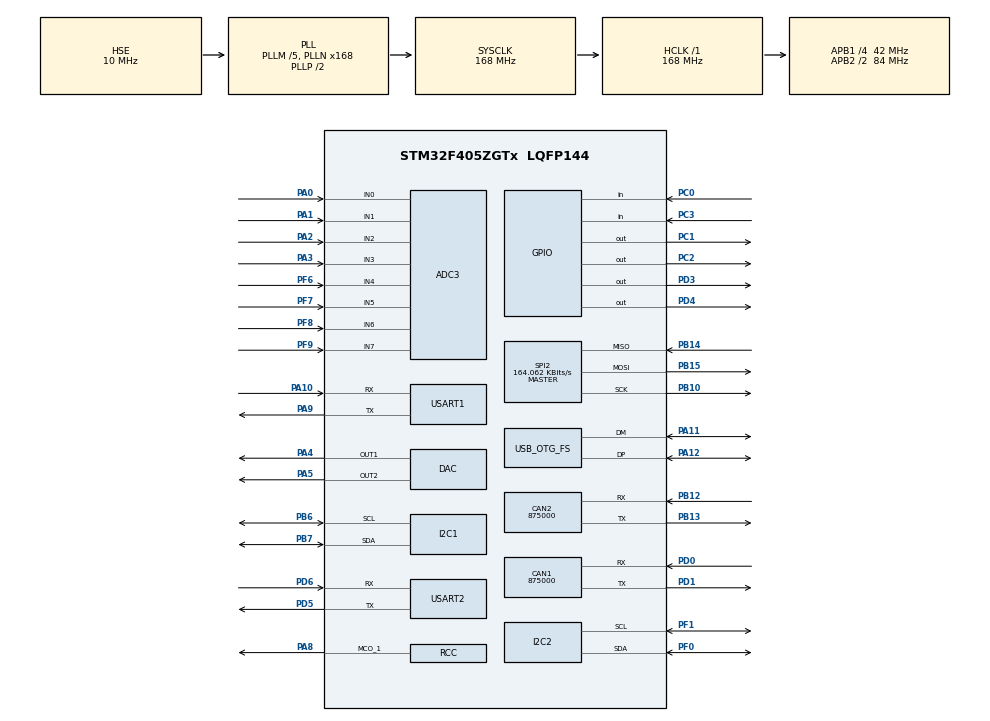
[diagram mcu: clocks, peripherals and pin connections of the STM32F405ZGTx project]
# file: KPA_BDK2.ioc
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ADC1.Channel-1\#ChannelRegularConversion=ADC_CHANNEL_TEMPSENSOR
ADC1.ContinuousConvMode=ENABLE
ADC1.InjNumberOfConversion=0
ADC1.NbrOfConversion=1
ADC1.NbrOfConversionFlag=1
ADC1.Rank-1\#ChannelRegularConversion=1
ADC1.SamplingTime-1\#ChannelRegularConversion=ADC_SAMPLETIME_144CYCLES
ADC1.master=1
ADC3.Channel-1\#ChannelRegularConversion=ADC_CHANNEL_0
ADC3.Channel-10\#ChannelRegularConversion=ADC_CHANNEL_5
ADC3.Channel-11\#ChannelRegularConversion=ADC_CHANNEL_6
ADC3.Channel-12\#ChannelRegularConversion=ADC_CHANNEL_7
ADC3.Channel-2\#ChannelRegularConversion=ADC_CHANNEL_1
ADC3.Channel-3\#ChannelRegularConversion=ADC_CHANNEL_2
ADC3.Channel-4\#ChannelRegularConversion=ADC_CHANNEL_3
ADC3.Channel-9\#ChannelRegularConversion=ADC_CHANNEL_4
ADC3.ClockPrescaler=ADC_CLOCK_SYNC_PCLK_DIV4
ADC3.ContinuousConvMode=ENABLE
ADC3.DMAContinuousRequests=ENABLE
ADC3.EOCSelection=ADC_EOC_SINGLE_CONV
ADC3.NbrOfConversion=8
ADC3.NbrOfConversionFlag=1
ADC3.Rank-1\#ChannelRegularConversion=1
ADC3.Rank-10\#ChannelRegularConversion=6
ADC3.Rank-11\#ChannelRegularConversion=7
ADC3.Rank-12\#ChannelRegularConversion=8
ADC3.Rank-2\#ChannelRegularConversion=2
ADC3.Rank-3\#ChannelRegularConversion=3
ADC3.Rank-4\#ChannelRegularConversion=4
ADC3.Rank-9\#ChannelRegularConversion=5
ADC3.SamplingTime-1\#ChannelRegularConversion=ADC_SAMPLETIME_56CYCLES
ADC3.SamplingTime-10\#ChannelRegularConversion=ADC_SAMPLETIME_56CYCLES
ADC3.SamplingTime-11\#ChannelRegularConversion=ADC_SAMPLETIME_56CYCLES
ADC3.SamplingTime-12\#ChannelRegularConversion=ADC_SAMPLETIME_56CYCLES
ADC3.SamplingTime-2\#ChannelRegularConversion=ADC_SAMPLETIME_56CYCLES
ADC3.SamplingTime-3\#ChannelRegularConversion=ADC_SAMPLETIME_56CYCLES
ADC3.SamplingTime-4\#ChannelRegularConversion=ADC_SAMPLETIME_56CYCLES
ADC3.SamplingTime-9\#ChannelRegularConversion=ADC_SAMPLETIME_56CYCLES
ADC3.ScanConvMode=ENABLE
CAN1.BS1=CAN_BS1_1TQ
CAN1.BS2=CAN_BS2_1TQ
CAN1.CalculateBaudRate=875000
CAN1.CalculateTimeBit=1142
CAN1.CalculateTimeQuantum=380.95238095238096
CAN2.CalculateBaudRate=875000
CAN2.CalculateTimeBit=1142
CAN2.CalculateTimeQuantum=380.95238095238096
DAC.DAC_Trigger=DAC_TRIGGER_NONE
DAC.DAC_Trigger2=DAC_TRIGGER_NONE
Dma.ADC3.0.Direction=DMA_PERIPH_TO_MEMORY
Dma.ADC3.0.FIFOMode=DMA_FIFOMODE_ENABLE
Dma.ADC3.0.FIFOThreshold=DMA_FIFO_THRESHOLD_HALFFULL
Dma.ADC3.0.Instance=DMA2_Stream0
Dma.ADC3.0.MemBurst=DMA_MBURST_SINGLE
Dma.ADC3.0.MemDataAlignment=DMA_MDATAALIGN_HALFWORD
Dma.ADC3.0.MemInc=DMA_MINC_ENABLE
Dma.ADC3.0.Mode=DMA_CIRCULAR
Dma.ADC3.0.PeriphBurst=DMA_PBURST_SINGLE
Dma.ADC3.0.PeriphDataAlignment=DMA_PDATAALIGN_HALFWORD
Dma.ADC3.0.PeriphInc=DMA_PINC_DISABLE
Dma.ADC3.0.Priority=DMA_PRIORITY_MEDIUM
Dma.Request0=ADC3
I2C1.I2C_Mode=I2C_Fast
I2C2.I2C_Mode=I2C_Fast
Mcu.Family=STM32F4
Mcu.Name=STM32F405ZGTx
Mcu.Package=LQFP144
NVIC.DMA2_Stream0_IRQn=true\:0\:0\:false\:false\:true\:false\:true
NVIC.I2C1_ER_IRQn=true\:0\:0\:false\:false\:true\:true\:true
NVIC.I2C1_EV_IRQn=true\:0\:0\:false\:false\:true\:true\:true
NVIC.I2C2_EV_IRQn=true\:0\:0\:false\:false\:true\:true\:true
NVIC.OTG_FS_IRQn=true\:0\:0\:false\:false\:true\:false\:true
NVIC.PriorityGroup=NVIC_PRIORITYGROUP_4
NVIC.SPI2_IRQn=true\:0\:0\:false\:false\:true\:true\:true
NVIC.TIM1_BRK_TIM9_IRQn=true\:0\:0\:false\:false\:true\:true\:true
NVIC.TIM2_IRQn=true\:0\:0\:false\:false\:true\:true\:true
NVIC.TIM7_IRQn=true\:0\:0\:false\:false\:true\:true\:true
NVIC.TIM8_BRK_TIM12_IRQn=true\:0\:0\:false\:false\:true\:true\:true
NVIC.USART1_IRQn=true\:0\:0\:true\:false\:true\:true\:true
NVIC.USART2_IRQn=true\:0\:0\:false\:false\:true\:true\:true
PA0-WKUP.Signal=ADCx_IN0
PA1.Signal=ADCx_IN1
PA10.Mode=Asynchronous
PA10.Signal=USART1_RX
PA11.Mode=Device_Only
PA11.Signal=USB_OTG_FS_DM
PA12.Mode=Device_Only
PA12.Signal=USB_OTG_FS_DP
PA13.Mode=Trace_Asynchronous_SW
PA13.Signal=SYS_JTMS-SWDIO
PA14.Mode=Trace_Asynchronous_SW
PA14.Signal=SYS_JTCK-SWCLK
PA15.Signal=SYS_JTDI
PA2.Signal=ADCx_IN2
PA3.Signal=ADCx_IN3
PA4.Signal=COMP_DAC1_group
PA5.Signal=COMP_DAC2_group
PA8.GPIO_Speed=GPIO_SPEED_FREQ_HIGH
PA8.Mode=Clock-out-1
PA8.Signal=RCC_MCO_1
PA9.Mode=Asynchronous
PA9.Signal=USART1_TX
PB10.Mode=Full_Duplex_Master
PB10.Signal=SPI2_SCK
PB12.Mode=CAN_Activate
PB12.Signal=CAN2_RX
PB13.Mode=CAN_Activate
PB13.Signal=CAN2_TX
PB14.Mode=Full_Duplex_Master
PB14.Signal=SPI2_MISO
PB15.Mode=Full_Duplex_Master
PB15.Signal=SPI2_MOSI
PB3.Mode=Trace_Asynchronous_SW
PB3.Signal=SYS_JTDO-SWO
PB6.Mode=I2C
PB6.Signal=I2C1_SCL
PB7.Mode=I2C
PB7.Signal=I2C1_SDA
PC0.Signal=GPIO_Input
PC1.Signal=GPIO_Output
PC2.Signal=GPIO_Output
PC3.Signal=GPIO_Input
PC6.Signal=S_TIM3_CH1
PC7.Signal=S_TIM3_CH2
PD0.Mode=CAN_Activate
PD0.Signal=CAN1_RX
PD1.Mode=CAN_Activate
PD1.Signal=CAN1_TX
PD3.Signal=GPIO_Output
PD4.Signal=GPIO_Output
PD5.Mode=Asynchronous
PD5.Signal=USART2_TX
PD6.Mode=Asynchronous
PD6.Signal=USART2_RX
PF0.Mode=I2C
PF0.Signal=I2C2_SDA
PF1.Mode=I2C
PF1.Signal=I2C2_SCL
PF6.Mode=IN4
PF6.Signal=ADC3_IN4
PF7.Mode=IN5
PF7.Signal=ADC3_IN5
PF8.Mode=IN6
PF8.Signal=ADC3_IN6
PF9.Mode=IN7
PF9.Signal=ADC3_IN7
PH0-OSC_IN.Mode=HSE-External-Oscillator
PH0-OSC_IN.Signal=RCC_OSC_IN
PH1-OSC_OUT.Mode=HSE-External-Oscillator
PH1-OSC_OUT.Signal=RCC_OSC_OUT
ProjectManager.HeapSize=0x400
ProjectManager.StackSize=0x600
ProjectManager.TargetToolchain=MDK-ARM V5
RCC.48MHZClocksFreq_Value=48000000
RCC.AHBFreq_Value=168000000
RCC.APB1CLKDivider=RCC_HCLK_DIV4
RCC.APB1Freq_Value=42000000
RCC.APB1TimFreq_Value=84000000
RCC.APB2CLKDivider=RCC_HCLK_DIV2
RCC.APB2Freq_Value=84000000
RCC.APB2TimFreq_Value=168000000
RCC.CortexFreq_Value=168000000
RCC.HCLKFreq_Value=168000000
RCC.HSE_VALUE=10000000
RCC.HSI_VALUE=16000000
RCC.LSE_VALUE=32768
RCC.PLLM=5
RCC.PLLN=168
RCC.PLLQ=7
RCC.RCC_MCO1Source=RCC_MCO1SOURCE_HSE
RCC.SYSCLKFreq_VALUE=168000000
RCC.SYSCLKSource=RCC_SYSCLKSOURCE_PLLCLK
RCC.VCOOutputFreq_Value=336000000
SH.ADCx_IN0.0=ADC3_IN0,IN0
SH.ADCx_IN1.0=ADC3_IN1,IN1
SH.ADCx_IN2.0=ADC3_IN2,IN2
SH.ADCx_IN3.0=ADC3_IN3,IN3
SH.COMP_DAC1_group.0=DAC_OUT1,DAC_OUT1
SH.COMP_DAC2_group.0=DAC_OUT2,DAC_OUT2
SH.S_TIM3_CH1.0=TIM3_CH1
SH.S_TIM3_CH2.0=TIM3_CH2
SPI2.BaudRatePrescaler=SPI_BAUDRATEPRESCALER_256
SPI2.CalculateBaudRate=164.062 KBits/s
SPI2.Direction=SPI_DIRECTION_2LINES
SPI2.Mode=SPI_MODE_MASTER
SPI2.VirtualType=VM_MASTER
TIM1.Period=100
TIM1.Prescaler=83
TIM12.Period=100
TIM12.Prescaler=83
TIM2.Prescaler=83
TIM4.Period=39999
TIM4.Prescaler=20
TIM5.CounterMode=TIM_COUNTERMODE_UP
TIM5.Period=6000
TIM5.Prescaler=8299
TIM7.AutoReloadPreload=TIM_AUTORELOAD_PRELOAD_ENABLE
TIM7.Period=50
TIM7.Prescaler=8399
TIM8.CounterMode=TIM_COUNTERMODE_DOWN
TIM8.Period=1000
TIM8.Prescaler=83
TIM9.Period=1000
TIM9.Prescaler=5
USART1.VirtualMode=VM_ASYNC
USART2.VirtualMode=VM_ASYNC
USB_DEVICE.APP_RX_DATA_SIZE-CDC_FS=256
USB_DEVICE.APP_TX_DATA_SIZE-CDC_FS=256
USB_DEVICE.CLASS_NAME_FS=CDC
USB_DEVICE.USBD_MAX_STR_DESC_SIZ-CDC_FS=64
USB_DEVICE.VirtualMode-CDC_FS=Cdc
USB_DEVICE.VirtualModeFS=Cdc_FS
USB_OTG_FS.VirtualMode=Device_Only
VP_ADC1_TempSens_Input.Mode=IN-TempSens
VP_TIM12_VS_ClockSourceINT.Mode=Internal
VP_TIM1_VS_ClockSourceINT.Mode=Internal
VP_TIM2_VS_ClockSourceINT.Mode=Internal
VP_TIM4_VS_ClockSourceINT.Mode=Internal
VP_TIM5_VS_ClockSourceINT.Mode=Internal
VP_TIM7_VS_ClockSourceINT.Mode=Enable_Timer
VP_TIM8_VS_ClockSourceINT.Mode=Internal
VP_TIM9_VS_ClockSourceINT.Mode=Internal
VP_USB_DEVICE_VS_USB_DEVICE_CDC_FS.Mode=CDC_FS
board=custom

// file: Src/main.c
/* USER CODE BEGIN Header */
/**
  ******************************************************************************
  * @file           : main.c
  * @brief          : Main program body
  ******************************************************************************
  * @attention
  *
  * <h2><center>&copy; Copyright (c) 2020 STMicroelectronics.
  * All rights reserved.</center></h2>
  *
  * This software component is licensed by ST under BSD 3-Clause license,
  * the "License"; You may not use this file except in compliance with the
  * License. You may obtain a copy of the License at:
  *                        opensource.org/licenses/BSD-3-Clause
  *
  ******************************************************************************
  */
/* USER CODE END Header */
#include "main.h"
#include "adc.h"
#include "can.h"
#include "dac.h"
#include "dma.h"
#include "i2c.h"
#include "spi.h"
#include "tim.h"
#include "usart.h"
#include "usb_device.h"
#include "gpio.h"

/* USER CODE BEGIN Includes */
#include <stm32f4xx.h>

/* USER CODE END Includes */

/* USER CODE BEGIN PV */
//type_VCP_UART vcp;

#define ADC_DATA_LAST_ADDRESS 0
#define DAC_DATA_LAST_ADDRESS 1
extern TIM_HandleTypeDef htim3;

#include "vcp_time_segmentation.h"
#include "modbus_rtu.h"
#include "math.h"
#include "modbus_data_formater.h"
#include "INA226.h"
#include "my_GPIO.h"
#include "my_UART.h"
#include "my_SPI.h"
#include "led.h"
#include "Power_module.h"
#include "my_MKO.h"
#include "MPP_Module.h"

type_VCP_UART vcp;

#pragma pack(push, 2)
type_modbus_data MB_Data;

type_adc_data_struct mb_adc;
type_adc_settings 	 mb_adc_settings;
type_dac_data_struct mb_dac1;
type_dac_data_struct mb_dac2;
type_INA226_Snake ina_226;
type_INA226_Snake	power_module_ina;
type_power_module mb_power_module;
type_MKO_Data mb_MKO_Data;
type_MKO_Cntrl mb_MKO_cntrl;
type_MPP_Parametres mb_MPP_Module_ch1;
type_MPP_Parametres mb_MPP_Module_ch2;
uint16_t test_dac[] = {0, 500, 1000, 2000, 3000, 4000};
uint8_t test_dac_i;
uint8_t uart1_transmit_len;
uint8_t uart2_transmit_len;

type_spi_chipselect_settings	mb_spi_cs_settings;

type_mb_data_union mb_data_union;

type_uart_transmit_struct mb_uart1_transmit;
type_uart_setting_union   mb_uart1_setting;
type_uart_transmit_struct mb_uart2_transmit;
type_uart_setting_union   mb_uart2_setting;
type_uart_setting_union 	UART_settings_default;
type_spi_settings_struct					mb_spi_settings;
type_spi_transmit_struct					mb_spi_transmit;
type_spi_receive_struct						mb_spi_receive;
type_stm_kpa_module								mb_stm_command_struct;
#pragma pack(pop)
type_LED_INDICATOR mcu_state_led;
type_LED_INDICATOR con_state_led;

type_gpio_in_union 			mb_gpio_inputs;
type_gpio_out_union 		mb_gpio_outputs;

type_gpio_config_union	mb_gpio_config;

type_alternative_gpio_out_struct mb_gpio_alternative_outputs;
uint8_t timer_slot_5ms_counter = 0;
uint8_t time_slot_flag_5ms = 0;

uint8_t DAC_flag;

/* USER CODE END PV */

void SystemClock_Config(void);
/* USER CODE BEGIN PFP */
void HardResetUSB(void);
void Reverse_Bytes_Order_16(uint16_t* word);

uint8_t test_flag;
/* USER CODE END PFP */

int main(void)
{

  /* MCU Configuration--------------------------------------------------------*/

  /* Reset of all peripherals, Initializes the Flash interface and the Systick. */
  HAL_Init();

  /* Configure the system clock */
  SystemClock_Config();

  /* Initialize all configured peripherals */
  MX_GPIO_Init();
  //MX_ADC3_Init();
  MX_CAN1_Init();
  //MX_DAC_Init();
  MX_I2C1_Init();
  MX_USART2_UART_Init();
  MX_DMA_Init();
  MX_CAN2_Init();
  MX_USB_DEVICE_Init();
  MX_TIM5_Init();
  MX_USART1_UART_Init();
  MX_TIM7_Init();
  MX_SPI2_Init();
  MX_TIM2_Init();
  MX_I2C2_Init();
  MX_TIM8_Init();
  MX_TIM9_Init();
  MX_ADC1_Init();
  MX_TIM4_Init();
  MX_TIM12_Init();
  MX_TIM1_Init();
  /* USER CODE BEGIN 2 */

	//volatile uint16_t len_massive[] = {sizeof(type_SPI_RW_data), sizeof(type_SPI_Ansver ), sizeof(type_uart_receive_struct), sizeof(type_gpio_in_union),sizeof(type_spi_receive_data),sizeof(type_uart_receive_struct)};
	memset(&mb_data_union, 0, sizeof(mb_data_union));
	HAL_TIM_Base_Start(&htim8);	// таймер ModBus
	MX_ADC3_Init(); // переинициализация ацп для работы с ДМА инициализацию выше нужно закомментировать
	MX_DAC_Init();	// переинициализация ацп для работы с ДМА инициализацию выше нужно закомментировать
	HAL_DAC_Start(&hdac,DAC_CHANNEL_2);
	HAL_DAC_Start(&hdac,DAC_CHANNEL_1);
	HAL_TIM_Base_Start_IT(&htim12);

	HAL_DAC_SetValue(&hdac,DAC_CHANNEL_1,DAC_ALIGN_12B_R, 1024);
	HAL_DAC_SetValue(&hdac,DAC_CHANNEL_1,DAC_ALIGN_12B_R, 2024);
	HAL_DAC_SetValue(&hdac,DAC_CHANNEL_1,DAC_ALIGN_12B_R, 3024);
	HAL_DAC_SetValue(&hdac,DAC_CHANNEL_1,DAC_ALIGN_12B_R, 4024);

	HAL_DAC_SetValue(&hdac,DAC_CHANNEL_2,DAC_ALIGN_12B_R, 1024);
	HAL_DAC_SetValue(&hdac,DAC_CHANNEL_2,DAC_ALIGN_12B_R, 2024);
	HAL_DAC_SetValue(&hdac,DAC_CHANNEL_2,DAC_ALIGN_12B_R, 3024);
	HAL_DAC_SetValue(&hdac,DAC_CHANNEL_2,DAC_ALIGN_12B_R, 4024);

	HAL_TIM_Base_Start(&htim5); //таймер АЦП, INA, GPIO
								//timer 8 - usb
	HAL_TIM_Base_Start_IT(&htim7);	//таймер светодиоды
	HAL_ADC_Start_DMA(&hadc3, (uint32_t*)&mb_adc.data, 8);

	ina226_init(&ina_226.INA_226[0], &hi2c1,0x40,5); // 5 volt
	ina226_init(&ina_226.INA_226[1],&hi2c1,0x41,5); // 3.3 volt
	ina226_init(&ina_226.INA_226[2],&hi2c1,0x44,5); // mother_board
	MY_USART_UART_struct_default_init(&UART_settings_default);
	MY_USART_UART_struct_default_init(&mb_uart1_setting);
	MY_USART_UART_struct_default_init(&mb_data_union.mb_data_named.mb_uart1_setting_struct);
	MY_USART_UART_struct_default_init(&mb_uart2_setting);
	MY_USART_UART_struct_default_init(&mb_data_union.mb_data_named.mb_uart2_setting_struct);

	HAL_UART_Receive_IT(&huart1, &mb_data_union.mb_data_named.mb_uart1_receive_struct.data[mb_data_union.mb_data_named.mb_uart1_receive_struct.write_ptr],1);
	HAL_UART_Receive_IT(&huart2, &mb_data_union.mb_data_named.mb_uart2_receive_struct.data[mb_data_union.mb_data_named.mb_uart2_receive_struct.write_ptr],1);
	my_spi_default_settings(&mb_spi_settings);
	my_spi_default_settings(&mb_data_union.mb_data_named.mb_spi_settings);
	MY_SPI2_Init(&mb_spi_settings);

	volatile uint16_t current_time ;
	volatile uint16_t previous_time_1, previous_time_2, previous_time_3;
	volatile uint16_t previous_time_4, previous_time_5, previous_time_6;

	led_init(&mcu_state_led, 0);
	led_init(&con_state_led, 1);
	led_setup(&con_state_led, LED_ON, 0, 0);
	led_setup(&mcu_state_led, LED_HEART_BEAT, 1000, 0);
	led_alt_setup(&con_state_led, LED_BLINK, 200, 127, 2000);
	led_alt_setup(&mcu_state_led, LED_BLINK, 200, 127, 2000);
	current_time = 0;
	previous_time_1 = 0;
	previous_time_2 = 0;
	timer_slot_5ms_counter = 0;

	//HAL_UART_Abort_IT(&huart2);
	//MY_USART2_UART_Init(&mb_uart2_setting);
  /* USER CODE END 2 */

  /* Infinite loop */
  /* USER CODE BEGIN WHILE */
	/*
  mb_gpio_config.conf_named.mask_config_named.gpio33 = 1;
	mb_gpio_config.conf_named.mask_config_named.gpio30 = 1;
	mb_gpio_config.conf_named.mask_config_named.gpio28 = 1;
	mb_gpio_config.conf_named.mask_config_named.gpio31 = 1;
  my_gpio_init(&mb_gpio_config);
  mb_gpio_outputs.gpio_out_named.gpio33 = 1;
	mb_gpio_outputs.gpio_out_named.gpio30 = 1;
	mb_gpio_outputs.gpio_out_named.gpio28 = 1;
	mb_gpio_outputs.gpio_out_named.gpio31 = 1;

  my_gpio_set(&mb_gpio_outputs);
  //my_spi_default_settings(&mb_data_union.mb_data_named.mb_spi_settings);
  mb_data_union.mb_data_named.mb_spi_settings.baud = 4;
  mb_data_union.mb_data_named.mb_spi_settings.data_size = 0;
  mb_data_union.mb_data_named.mb_spi_settings.mode = 0;
  mb_data_union.mb_data_named.mb_spi_settings.direction = 0;
  mb_data_union.mb_data_named.mb_spi_settings.polarity = 0;
  mb_data_union.mb_data_named.mb_spi_settings.phase = 1;
  mb_data_union.mb_data_named.mb_spi_settings.firs_bit = 0;
  mb_data_union.mb_data_named.mb_spi_settings.ti_mode = 0;

  MY_SPI2_Init(&mb_data_union.mb_data_named.mb_spi_settings);
  mb_data_union.mb_data_named.mb_SPI_Device1.scaler = 1;

	mb_data_union.mb_data_named.mb_SPI_Device1.t_r_flag = 2;
  mb_data_union.mb_data_named.mb_SPI_Device1.SPI_NUM = 0;
	mb_data_union.mb_data_named.mb_SPI_Device1.Len = 4;
	mb_data_union.mb_data_named.mb_SPI_Device1.cs_num = 30;

	mb_data_union.mb_data_named.mb_SPI_Device1.scaler = 1;
	mb_data_union.mb_data_named.mb_SPI_Device1.Data[0] = 0x06;
	SPI_RW_routine(&mb_data_union.mb_data_named.mb_SPI_Device1, &mb_data_union.mb_data_named.mb_SPI_Device);

	*/

  while (1)
  {
    /* USER CODE END WHILE */

    /* USER CODE BEGIN 3 */

		current_time = (uint16_t)TIM5->CNT;

		if(mb_data_union.mb_data_named.mb_power_module_settings.it_is_power_module && ((current_time - previous_time_3)>10)){
			memcpy(&mb_power_module.voltage_1, &mb_adc.data, 4);
			previous_time_3 = current_time;
		}

		if((current_time - previous_time_1)>= 1000){ // запуск опроса ina226 . копирование данных ацп
        memcpy(&mb_data_union.mb_data_named.mb_adc.data, &mb_adc.data, sizeof(mb_adc.data));
				mb_data_union.mb_data_named.mb_temperature.temperature = HAL_ADC_GetValue(&hadc1);
				HAL_ADC_Start(&hadc1);
				/*
			  if(mb_gpio_alternative_outputs.start == 1 && mb_gpio_alternative_outputs.end_flag == 0){ // if alt started
					temp = ((uint32_t)(TIM2->ARR)) - ((uint32_t) TIM2->CNT);
					memcpy(&mb_data_union.mb_data_named.mb_gpio_alternative_out.LOW_time_left, &temp, 4); // update the time in alt_gpio
				}
				*/

				if(ina_226.ch_read_queue == 0){
					memcpy(&mb_data_union.mb_data_named.ina226_5v, &ina_226.INA_226[0].voltage, sizeof(type_ina_226_data));
					Reverse_Bytes_Order_16(&mb_data_union.mb_data_named.ina226_5v.voltage);
					Reverse_Bytes_Order_16(&mb_data_union.mb_data_named.ina226_5v.current);
				}
				else if(ina_226.ch_read_queue == 1){
					memcpy(&mb_data_union.mb_data_named.ina226_3v3, &ina_226.INA_226[1].voltage, sizeof(type_ina_226_data));
					Reverse_Bytes_Order_16(&mb_data_union.mb_data_named.ina226_3v3.voltage);
					Reverse_Bytes_Order_16(&mb_data_union.mb_data_named.ina226_3v3.current);
				}
				else if(ina_226.ch_read_queue == 2){
					memcpy(&mb_data_union.mb_data_named.ina226_mother_board, &ina_226.INA_226[2].voltage, sizeof(type_ina_226_data));
					Reverse_Bytes_Order_16(&mb_data_union.mb_data_named.ina226_mother_board.voltage);
					Reverse_Bytes_Order_16(&mb_data_union.mb_data_named.ina226_mother_board.current);
				}
				if((mb_power_module.it_is_power_module == 1)||(mb_power_module.it_is_power_module == 2)){
					memcpy(&mb_data_union.mb_data_named.mb_power_module_output_data, &power_module_ina.INA_226[0].voltage, 4);
					Reverse_Bytes_Order_16(&mb_data_union.mb_data_named.mb_power_module_output_data.voltage);
					Reverse_Bytes_Order_16(&mb_data_union.mb_data_named.mb_power_module_output_data.current);
					mb_data_union.mb_data_named.mb_power_module_output_data.ina_aligned_voltage = mb_data_union.mb_data_named.mb_power_module_output_data.voltage*0.1;
					//переписываю ограничения по напряжению и току дефолтное ограничение по току 1.2 ампера
					//так же теперь смотрит за тем чтобы выходное напряжение не превышало заданное на 100мВ
					mb_data_union.mb_data_named.mb_power_module_output_data.voltage_module_1 = mb_adc.data[0];
					mb_data_union.mb_data_named.mb_power_module_output_data.voltage_module_2 = mb_adc.data[1];
					mb_data_union.mb_data_named.mb_power_module_output_data.voltage_control = mb_adc.data[2];
					//проверка на превышение по току и превышение выходного напряжения после ключа
					if(mb_power_module.power_on_delay >0){
						mb_power_module.power_on_delay--;
					}
					else{
						//HAL_GPIO_TogglePin(GPIOC, GPIO_PIN_2);
						HAL_GPIO_WritePin(GPIOC, GPIO_PIN_2, GPIO_PIN_RESET);
						if((mb_power_module.overcurrent <= mb_data_union.mb_data_named.mb_power_module_output_data.current) || (2890 <= mb_data_union.mb_data_named.mb_power_module_output_data.ina_aligned_voltage)){ //28.8 = 36*0.8 (максимальное напряжение питания для нашей аппаратуры
							mb_data_union.mb_data_named.mb_power_module_settings.on_off = 0;
							mb_power_module.on_off = 0;
							power_module_voltage_on_off(&mb_power_module);
							mb_data_union.mb_data_named.mb_power_module_output_data.allert = 1;
							}
					}
					power_module_ina.ch_read_queue = 2;
					ina226_snake(&power_module_ina);
				}

				ina226_snake(&ina_226);
				previous_time_1 = current_time;
		}

		if((current_time - previous_time_2)>=2000){	// обновление состояния GPIO
			if(mb_gpio_config.conf_named.on_of_mask.init_flag){
				my_gpio_get(&mb_gpio_inputs);
				memcpy(&mb_data_union.mb_data_named.mb_gpio_in_union, &mb_gpio_inputs, sizeof(mb_gpio_inputs));
			}
			previous_time_2 = 0;
			previous_time_1 = 0;
			current_time = 0;
			TIM5->CNT = 0;
    }

		if(mb_data_union.mb_data_named.mb_dac1.settings_scaler == 1){ // dac1 start/stop/config
				memcpy(&mb_dac1.settings_scaler, &mb_data_union.mb_data_named.mb_dac1, sizeof(mb_dac1));
				if(mb_dac1.start == 1){
					HAL_DAC_Start_DMA(&hdac, DAC_CHANNEL_1, (uint32_t*)mb_dac1.data, (sizeof(mb_dac1.data)/2), DAC_ALIGN_12B_R);
					mb_data_union.mb_data_named.mb_dac1.settings_scaler = 0;
				}
				else{
					HAL_DAC_Stop_DMA(&hdac, DAC_CHANNEL_1);
					mb_data_union.mb_data_named.mb_dac1.settings_scaler = 0;
				}
		}

		if(mb_data_union.mb_data_named.mb_dac2.settings_scaler == 1){// dac2 start/stop/config
			memcpy(&mb_dac2, &mb_data_union.mb_data_named.mb_dac2,  sizeof(mb_dac2));
			if(mb_dac2.start == 1){
					HAL_DAC_Start_DMA(&hdac, DAC_CHANNEL_2, (uint32_t*)mb_dac2.data, (sizeof(mb_dac2.data)/2), DAC_ALIGN_12B_R);
					mb_data_union.mb_data_named.mb_dac2.settings_scaler = 0;
				}
				else{
					HAL_DAC_Stop_DMA(&hdac, DAC_CHANNEL_2);
					mb_data_union.mb_data_named.mb_dac2.settings_scaler = 0;
				}
		}

		else if(mb_data_union.mb_data_named.mb_adc_settings.settings_scaler == 1){ // adc start/stop
			memcpy(&mb_adc_settings.settings_scaler, &mb_data_union.mb_data_named.mb_adc_settings, sizeof(mb_adc_settings));
			if(mb_adc_settings.start == 1){
					HAL_ADC_Start_DMA(&hadc3, (uint32_t*)&mb_adc.data, 8);
					mb_data_union.mb_data_named.mb_adc_settings.settings_scaler = 0;
				}
				else{
					HAL_ADC_Stop_DMA(&hadc3);
					mb_data_union.mb_data_named.mb_adc_settings.settings_scaler = 0;
				}
		}
		// инициализация GPIO
		if(mb_data_union.mb_data_named.mb_gpio_config_union.conf_named.mask_config_named.data_updater == 1){
			memcpy(&mb_gpio_config.conf_named, &mb_data_union.mb_data_named.mb_gpio_config_union, sizeof(mb_gpio_config.conf_named));
			my_gpio_init(&mb_gpio_config);
			mb_data_union.mb_data_named.mb_gpio_config_union.conf_named.mask_config_named.data_updater = 0;

		}

		//обновление состояния GPIO настроенных на выход
		if(mb_gpio_config.conf_named.on_of_mask.init_flag){
      if(mb_data_union.mb_data_named.mb_gpio_out_union.gpio_out_named.data_updater == 1){
        memcpy(&mb_gpio_outputs, &mb_data_union.mb_data_named.mb_gpio_out_union, sizeof(mb_gpio_outputs));
        my_gpio_set(&mb_gpio_outputs);
				mb_data_union.mb_data_named.mb_gpio_out_union.gpio_out_named.data_updater = 0;
      }
    }

		//spi receive
		if(mb_data_union.mb_data_named.mb_spi_receive.scaler == 1){
			memcpy(&mb_spi_receive, &mb_data_union.mb_data_named.mb_spi_receive, 20); // 20 bites are control part of struct
			if(mb_spi_receive.start == 1){
				mb_data_union.mb_data_named.mb_spi_receive.transaction_end = 0;
				my_spi_receive(&mb_spi_receive ,&mb_data_union.mb_data_named.mb_spi_receive_data);
			}
			mb_data_union.mb_data_named.mb_spi_receive.scaler = 0;
		}
		// spi transmit

		if(mb_data_union.mb_data_named.mb_spi_transmit.scaler == 1){
			memcpy(&mb_spi_transmit, &mb_data_union.mb_data_named.mb_spi_transmit, sizeof(type_spi_settings_struct));
			if(mb_spi_transmit.start == 1){
				if(mb_spi_cs_settings.init_flag == 1){
					mb_data_union.mb_data_named.mb_spi_transmit.transaction_end = 0;
					my_spi_chip_deselect(&mb_spi_transmit.chip_mask, &mb_spi_cs_settings, &mb_gpio_outputs);
					my_spi_chip_select(&mb_spi_transmit.chip_mask, &mb_spi_cs_settings, &mb_gpio_outputs);
					if(mb_spi_transmit.rx_tx_flag == 1){
						my_spi_transmit_recive( &mb_data_union.mb_data_named.mb_spi_receive_data, &mb_spi_transmit);
					}
					else if(mb_spi_transmit.rx_tx_flag == 0){
						my_spi_transmit(&mb_spi_transmit);
					}
				}
			}
			mb_data_union.mb_data_named.mb_spi_transmit.scaler = 0;
		}

		//spi settings
		if(mb_data_union.mb_data_named.mb_spi_settings.scaler == 1){
			memcpy(&mb_spi_settings, &mb_data_union.mb_data_named.mb_spi_settings, sizeof(type_spi_settings_struct));
			if(mb_spi_settings.set_default == 0x01){
				my_spi_default_settings(&mb_spi_settings);
			}
			if(mb_data_union.mb_data_named.mb_spi_settings.spi_num == 0){
				MY_SPI2_Init(&mb_spi_settings);
			}
			else if(mb_data_union.mb_data_named.mb_spi_settings.spi_num == 1){
				MY_SPI1_Init(&mb_spi_settings);
			}

			mb_data_union.mb_data_named.mb_spi_settings.scaler = 0;
		}

		//spi ch_s settings
		if(mb_data_union.mb_data_named.mb_spi_cs_settings.scaler == 1){
			memcpy(&mb_spi_cs_settings, &mb_data_union.mb_data_named.mb_spi_cs_settings, sizeof(type_spi_chipselect_settings));
			my_spi_chip_select_init(&mb_spi_cs_settings, &mb_gpio_config);
			if(mb_spi_cs_settings.init_flag == 1){
				mb_data_union.mb_data_named.mb_spi_cs_settings.init_flag = 1;
			}
			mb_data_union.mb_data_named.mb_spi_cs_settings.scaler = 0;
		}

		//обновление и отправка посылки по uart1
		if(mb_data_union.mb_data_named.mb_uart1_transmit_struct.scaler == 1){
			memcpy(&mb_uart1_transmit, &mb_data_union.mb_data_named.mb_uart1_transmit_struct, sizeof(mb_uart1_transmit));
			if(mb_uart1_transmit.start == 0x01 && mb_uart1_transmit.len != 0x00){
				mb_data_union.mb_data_named.mb_uart1_transmit_struct.transmit_flag = 0x0000;
				mb_uart1_transmit.transmit_flag = 0x0000;
				if(mb_uart1_transmit.len < UART_TRANSMIT_DATA_BUFF){
					//uart1_transmit_len = mb_uart1_transmit.len/2;
					for(int i = 0; i <= mb_uart1_transmit.len; i++){
						Reverse_Bytes_Order_16(&mb_uart1_transmit.data[i]);
					}

					if(mb_uart1_setting.settings_named.Duplex){\
						//huart1.Instance->CR1 &= ~0x04; //опускаем RE recieve enable
						mb_gpio_outputs.gpio_out_named.gpio2 = 1;
						my_gpio_set(&mb_gpio_outputs);

					}
					HAL_UART_Transmit_IT(&huart1, (uint8_t*) mb_uart1_transmit.data, mb_uart1_transmit.len);
					mb_data_union.mb_data_named.mb_uart1_transmit_struct.scaler = 0;
				}
				else{
					mb_uart1_transmit.transmit_flag = 0xFF00;
					mb_data_union.mb_data_named.mb_uart1_transmit_struct.scaler = 0;
				}

			}
		}
		//Настройки ЮАРТ1, из простого, менять баудрэйт, при изменении настроек заново запускается буфер на прием
		if(mb_data_union.mb_data_named.mb_uart1_setting_struct.settings_named.scaler == 1){
			memcpy(&mb_uart1_setting, &mb_data_union.mb_data_named.mb_uart1_setting_struct, sizeof(type_uart_setting_union));
			if(mb_uart1_setting.settings_named.BAUD!=0){
				HAL_UART_Abort_IT(&huart1);
				HAL_UART_DeInit(&huart1);
				MY_USART1_UART_Init(&mb_uart1_setting, &mb_gpio_config);
				mb_data_union.mb_data_named.mb_uart1_receive_struct.write_ptr = 0x00;
				memset(&mb_data_union.mb_data_named.mb_uart1_receive_struct.data, 0x00, sizeof(mb_data_union.mb_data_named.mb_uart1_receive_struct.data));
				HAL_UART_Receive_IT(&huart1, &mb_data_union.mb_data_named.mb_uart1_receive_struct.data[mb_data_union.mb_data_named.mb_uart1_receive_struct.write_ptr],1);
				mb_data_union.mb_data_named.mb_uart1_setting_struct.settings_named.flag = 0x01;
				mb_data_union.mb_data_named.mb_uart1_setting_struct.settings_named.scaler =0;
			}
			else{
				HAL_UART_Abort_IT(&huart1);
				MY_USART1_UART_Init(&UART_settings_default, &mb_gpio_config);
				mb_data_union.mb_data_named.mb_uart1_receive_struct.write_ptr = 0x00;
				memset(&mb_data_union.mb_data_named.mb_uart1_receive_struct.data, 0x00, sizeof(mb_data_union.mb_data_named.mb_uart1_receive_struct.data));
				HAL_UART_Receive_IT(&huart1, &mb_data_union.mb_data_named.mb_uart1_receive_struct.data[mb_data_union.mb_data_named.mb_uart1_receive_struct.write_ptr],1);
				mb_data_union.mb_data_named.mb_uart1_setting_struct.settings_named.flag = 0x10;
				mb_data_union.mb_data_named.mb_uart1_setting_struct.settings_named.scaler =0;
			}
		}
		//обновление и отправка посылки по uart2
		if(mb_data_union.mb_data_named.mb_uart2_transmit_struct.scaler == 1){
			memcpy(&mb_uart2_transmit, &mb_data_union.mb_data_named.mb_uart2_transmit_struct, sizeof(mb_uart2_transmit));
			if(mb_uart2_transmit.start == 0x01 && mb_uart2_transmit.len != 0x00){
				mb_data_union.mb_data_named.mb_uart2_transmit_struct.transmit_flag = 0x0000;
				mb_uart2_transmit.transmit_flag = 0x0000;

				if(mb_uart2_transmit.len < UART_TRANSMIT_DATA_BUFF){

					for(int i = 0; i <= 64; i++){
						Reverse_Bytes_Order_16(&mb_uart2_transmit.data[i]);
					}
					if(mb_uart2_setting.settings_named.Duplex){
						//huart2.Instance->CR1 &= ~0x04; //опускаем RE recieve enable
						mb_gpio_outputs.gpio_out_named.gpio1 = 1;
						my_gpio_set(&mb_gpio_outputs);
					}
					HAL_UART_Transmit_IT(&huart2, (uint8_t*) mb_uart2_transmit.data, mb_uart2_transmit.len);
					mb_data_union.mb_data_named.mb_uart2_transmit_struct.scaler = 0;
				}
				else{
					mb_uart2_transmit.transmit_flag = 0xFF00;
					mb_data_union.mb_data_named.mb_uart2_transmit_struct.scaler = 0;
				}
			}
		}

		//Настройки ЮАРТ2, из простого, менять баудрэйт, при изменении настроек заново запускается буфер на прием
		if(mb_data_union.mb_data_named.mb_uart2_setting_struct.settings_named.scaler != mb_uart2_setting.settings_named.scaler){
			memcpy(&mb_uart2_setting, &mb_data_union.mb_data_named.mb_uart2_setting_struct, sizeof(type_uart_setting_union));
			if(mb_uart2_setting.settings_named.BAUD!=0){
				HAL_UART_Abort_IT(&huart2);
				HAL_UART_DeInit(&huart2);

				MY_USART2_UART_Init(&mb_uart2_setting, &mb_gpio_config);

				mb_data_union.mb_data_named.mb_uart2_receive_struct.write_ptr = 0x00;
				memset(&mb_data_union.mb_data_named.mb_uart2_receive_struct.data, 0x00, sizeof(mb_data_union.mb_data_named.mb_uart2_receive_struct.data));

				HAL_UART_Receive_IT(&huart2, &mb_data_union.mb_data_named.mb_uart2_receive_struct.data[mb_data_union.mb_data_named.mb_uart2_receive_struct.write_ptr],1);

				mb_data_union.mb_data_named.mb_uart2_setting_struct.settings_named.flag = 0x01;
				mb_data_union.mb_data_named.mb_uart2_setting_struct.settings_named.scaler = 0;
			}
			else{
				HAL_UART_Abort_IT(&huart2);
				MY_USART2_UART_Init(&UART_settings_default, &mb_gpio_config);
				mb_data_union.mb_data_named.mb_uart2_receive_struct.write_ptr = 0x00;
				memset(&mb_data_union.mb_data_named.mb_uart2_receive_struct.data, 0x00, sizeof(mb_data_union.mb_data_named.mb_uart2_receive_struct.data));
				HAL_UART_Receive_IT(&huart2, &mb_data_union.mb_data_named.mb_uart2_receive_struct.data[mb_data_union.mb_data_named.mb_uart2_receive_struct.write_ptr],1);
				mb_data_union.mb_data_named.mb_uart2_setting_struct.settings_named.flag = 0x01;
				mb_data_union.mb_data_named.mb_uart2_setting_struct.settings_named.scaler =0;
			}
		}

		// alternative GPIO set
		if(mb_data_union.mb_data_named.mb_gpio_alternative_out.scaler ==  1){
				memcpy(&mb_gpio_alternative_outputs, &mb_data_union.mb_data_named.mb_gpio_alternative_out, sizeof(mb_gpio_alternative_outputs));
				if(mb_gpio_alternative_outputs.start == 0x0001 && mb_gpio_alternative_outputs.stop == 0x00){
					mb_gpio_alternative_outputs.end_flag = 0;
					my_gpio_alt_set(&mb_gpio_alternative_outputs);
					mb_data_union.mb_data_named.mb_gpio_alternative_out.scaler = 0;
				}
				else if(mb_gpio_alternative_outputs.stop == 0x0001){
					HAL_TIM_Base_Stop_IT(&htim2);
					mb_gpio_alternative_outputs.end_flag = 0;
					mb_gpio_alternative_outputs.start = 0;
					my_gpio_set(&mb_gpio_outputs);
					mb_data_union.mb_data_named.mb_gpio_alternative_out.scaler = 0;
				}
		}

		//power_module_cnfg
		if(mb_data_union.mb_data_named.mb_power_module_settings.scaler == 1){

			if(mb_power_module.it_is_power_module != 1 ){
					power_module_init(&mb_power_module);
					ina226_power_module_init(&power_module_ina.INA_226[0], &hi2c2, 0x40,mb_power_module.over_voltage_aligned );
			}

			mb_power_module.voltage_aligned_temp = mb_data_union.mb_data_named.mb_power_module_settings.voltage *0.08; // lsb 12.5 мВ
			if(mb_power_module.voltage_aligned != mb_power_module.voltage_aligned_temp){
				mb_power_module.voltage_aligned = mb_power_module.voltage_aligned_temp;
				mb_power_module.summ_1 = 0;
				mb_power_module.summ_2 = 0;
				power_module_voltage_set(&mb_power_module);
			}
			//проверка на обновление ограничений
			if(mb_data_union.mb_data_named.mb_power_module_settings.new_constrain == 0x01){
				mb_power_module.overcurrent = mb_data_union.mb_data_named.mb_power_module_settings.overcurent;
				mb_power_module.over_voltage_aligned = (mb_data_union.mb_data_named.mb_power_module_settings.overvoltage) *0.8; // lsb - 1.25 мВ
				mb_power_module.constrain_avalible = 1;
				mb_data_union.mb_data_named.mb_power_module_settings.new_constrain = 0;
			}
			//проверка на обновление калибровок
			if(mb_data_union.mb_data_named.mb_power_module_settings.new_constant == 0x01){
				mb_power_module.delta_1 = mb_data_union.mb_data_named.mb_power_module_settings.delta_1*0.08;
				mb_power_module.delta_2 = mb_data_union.mb_data_named.mb_power_module_settings.delta_2*0.08;
				mb_data_union.mb_data_named.mb_power_module_settings.new_constant = 0x00;
			}

			mb_power_module.on_off = mb_data_union.mb_data_named.mb_power_module_settings.on_off;
			power_module_voltage_on_off(&mb_power_module);
			if(mb_power_module.on_off){
				mb_power_module.power_on_delay = 1500;
				HAL_GPIO_WritePin(GPIOC, GPIO_PIN_2, GPIO_PIN_SET);
			}
			mb_data_union.mb_data_named.mb_power_module_settings.scaler = 0;
		}
		//настройка модуля контроля питания
		if(mb_data_union.mb_data_named.mb_power_module_settings.scaler == 0x02){

			if(mb_power_module.it_is_power_module != 2 ){
				power_module_gpio_init();
				if(mb_power_module.overcurrent == 0 || mb_power_module.overcurrent >= 1500){
						mb_power_module.overcurrent = 1500; // задаем ограничение по току по умолчанию. если нужно поменять, для этого есть функционал
					}
					ina226_power_module_init(&power_module_ina.INA_226[0], &hi2c2, 0x40,mb_power_module.over_voltage_aligned );
					mb_power_module.it_is_power_module = 2;
			}

			mb_power_module.voltage_aligned = mb_data_union.mb_data_named.mb_power_module_settings.voltage *0.08;
			//проверка на обновление ограничений
			if(mb_data_union.mb_data_named.mb_power_module_settings.new_constrain == 0x01){
				mb_power_module.overcurrent = mb_data_union.mb_data_named.mb_power_module_settings.overcurent;
				mb_power_module.over_voltage_aligned = (mb_data_union.mb_data_named.mb_power_module_settings.overvoltage) *0.8; // lsb - 1.25 мВ
				mb_power_module.constrain_avalible = 1;
				mb_data_union.mb_data_named.mb_power_module_settings.new_constrain = 0;
			}
			mb_power_module.on_off = mb_data_union.mb_data_named.mb_power_module_settings.on_off;
			power_module_voltage_on_off(&mb_power_module);

			if(mb_power_module.on_off){
				mb_power_module.power_on_delay = POWER_ON_DELAY;
				HAL_GPIO_WritePin(GPIOC, GPIO_PIN_2, GPIO_PIN_SET);
			}
			mb_data_union.mb_data_named.mb_power_module_settings.scaler = 0;
		}

		//MKO
		if((mb_data_union.mb_data_named.mb_MKO_Struct.scaler & 0x01)== 0x01){
			if(mb_data_union.mb_data_named.mb_MKO_Struct.MKO_Cntrl.MKO_initFlag != 1){
				MKO_Init();
				mb_data_union.mb_data_named.mb_MKO_Struct.MKO_Cntrl.MKO_initFlag = 1;
			}
			MKO_Exchange(&mb_data_union.mb_data_named.mb_MKO_Struct);
			mb_data_union.mb_data_named.mb_MKO_Struct.scaler &= 0xFFFE;
		}

		// it is STM module
		if((mb_data_union.mb_data_named.mb_STM_command_struct.scaler & 0x01)== 0x01){
			memcpy( &mb_stm_command_struct,&mb_data_union.mb_data_named.mb_STM_command_struct, sizeof(mb_stm_command_struct));
			mb_data_union.mb_data_named.mb_STM_command_struct.scaler = 0;
			if(mb_stm_command_struct.stm_module_flag){
				AD_7490_init();
				AD7490_body_read_queue(&mb_data_union.mb_data_named.mb_AD7490);
			}
			else{
				HAL_SPI_Abort_IT(&hspi2);
			}

		}
		//воздействие мпп канал 1
		if(mb_data_union.mb_data_named.mb_MPP_CH1_Module.scaler == 1){
			mb_MPP_Module_ch1.V_high = mb_data_union.mb_data_named.mb_MPP_CH1_Module.High_U & 0xFFF;
			mb_MPP_Module_ch1.V_low = mb_data_union.mb_data_named.mb_MPP_CH1_Module.Low_U & 0xFFF;
			mb_MPP_Module_ch1.Flag = 1;
			mb_MPP_Module_ch1.Channel = 1; // потому что у Толи перепутано во втором канале 0

			mb_MPP_Module_ch1.Period_leng = mb_data_union.mb_data_named.mb_MPP_CH1_Module.t;
			mb_MPP_Module_ch1.Number_period_original = mb_data_union.mb_data_named.mb_MPP_CH1_Module.N;
			mb_MPP_Module_ch1.Pack_number = mb_data_union.mb_data_named.mb_MPP_CH1_Module.M;
			mb_MPP_Module_ch1.Pack_period_original = 	mb_data_union.mb_data_named.mb_MPP_CH1_Module.T;
			mb_MPP_Module_ch1.Pack_period_original = mb_MPP_Module_ch1.Pack_period_original * 10;
			mb_MPP_Module_ch1.Period_cycler = mb_MPP_Module_ch1.Period_leng;
			mb_MPP_Module_ch1.Pack_period = mb_MPP_Module_ch1.Pack_period_original;
			mb_MPP_Module_ch1.Number_period = mb_MPP_Module_ch1.Number_period_original+1;
			mb_data_union.mb_data_named.mb_MPP_CH1_Module.scaler = 0;
		}
		if(mb_data_union.mb_data_named.mb_MPP_CH2_Module.scaler == 1){
			mb_MPP_Module_ch2.V_high = mb_data_union.mb_data_named.mb_MPP_CH2_Module.High_U & 0xFFF;
			mb_MPP_Module_ch2.V_low = mb_data_union.mb_data_named.mb_MPP_CH2_Module.Low_U & 0xFFF;
			mb_MPP_Module_ch2.Flag = 1;
			mb_MPP_Module_ch2.Channel = 0;

			mb_MPP_Module_ch2.Period_leng = mb_data_union.mb_data_named.mb_MPP_CH2_Module.t;
			mb_MPP_Module_ch2.Number_period_original = mb_data_union.mb_data_named.mb_MPP_CH2_Module.N;
			mb_MPP_Module_ch2.Pack_number = mb_data_union.mb_data_named.mb_MPP_CH2_Module.M;
			mb_MPP_Module_ch2.Pack_period_original = 	mb_data_union.mb_data_named.mb_MPP_CH2_Module.T;
			mb_MPP_Module_ch2.Pack_period_original = mb_MPP_Module_ch2.Pack_period_original * 10;
			mb_MPP_Module_ch2.Period_cycler = mb_MPP_Module_ch2.Period_leng;
			mb_MPP_Module_ch2.Pack_period = mb_MPP_Module_ch2.Pack_period_original;
			mb_MPP_Module_ch2.Number_period = mb_MPP_Module_ch2.Number_period_original+1;
			mb_data_union.mb_data_named.mb_MPP_CH2_Module.scaler = 0;
		}
		// SPI normal send read
		if(mb_data_union.mb_data_named.mb_SPI_Device1.scaler == 1){
			SPI_RW_routine(&mb_data_union.mb_data_named.mb_SPI_Device1, &mb_data_union.mb_data_named.mb_SPI_Device);
		}

		//vcp read
		if(vcp.rx_position>4){
			led_alt_setup(&con_state_led, LED_BLINK, 200, 127, 200);
			modbus_RX_TX_handler(&mb_data_union.mb_data, &vcp);
			//vcp.rx_position = 0;
		}
  }

  /* USER CODE END 3 */
}

void SystemClock_Config(void)
{
  RCC_OscInitTypeDef RCC_OscInitStruct = {0};
  RCC_ClkInitTypeDef RCC_ClkInitStruct = {0};

  /** Configure the main internal regulator output voltage
  */
  __HAL_RCC_PWR_CLK_ENABLE();
  __HAL_PWR_VOLTAGESCALING_CONFIG(PWR_REGULATOR_VOLTAGE_SCALE1);
  /** Initializes the RCC Oscillators according to the specified parameters
  * in the RCC_OscInitTypeDef structure.
  */
  RCC_OscInitStruct.OscillatorType = RCC_OSCILLATORTYPE_HSE;
  RCC_OscInitStruct.HSEState = RCC_HSE_ON;
  RCC_OscInitStruct.PLL.PLLState = RCC_PLL_ON;
  RCC_OscInitStruct.PLL.PLLSource = RCC_PLLSOURCE_HSE;
  RCC_OscInitStruct.PLL.PLLM = 5;
  RCC_OscInitStruct.PLL.PLLN = 168;
  RCC_OscInitStruct.PLL.PLLP = RCC_PLLP_DIV2;
  RCC_OscInitStruct.PLL.PLLQ = 7;
  if (HAL_RCC_OscConfig(&RCC_OscInitStruct) != HAL_OK)
  {
    Error_Handler();
  }
  /** Initializes the CPU, AHB and APB buses clocks
  */
  RCC_ClkInitStruct.ClockType = RCC_CLOCKTYPE_HCLK|RCC_CLOCKTYPE_SYSCLK
                              |RCC_CLOCKTYPE_PCLK1|RCC_CLOCKTYPE_PCLK2;
  RCC_ClkInitStruct.SYSCLKSource = RCC_SYSCLKSOURCE_PLLCLK;
  RCC_ClkInitStruct.AHBCLKDivider = RCC_SYSCLK_DIV1;
  RCC_ClkInitStruct.APB1CLKDivider = RCC_HCLK_DIV4;
  RCC_ClkInitStruct.APB2CLKDivider = RCC_HCLK_DIV2;

  if (HAL_RCC_ClockConfig(&RCC_ClkInitStruct, FLASH_LATENCY_5) != HAL_OK)
  {
    Error_Handler();
  }
  HAL_RCC_MCOConfig(RCC_MCO1, RCC_MCO1SOURCE_HSE, RCC_MCODIV_1);
}

/* USER CODE BEGIN 4 */

void HardResetUSB(void)
{
	GPIO_InitTypeDef GPIO_InitStruct;
	GPIO_InitStruct.Pin = GPIO_PIN_12;
	GPIO_InitStruct.Mode = GPIO_MODE_OUTPUT_PP;
	GPIO_InitStruct.Pull = GPIO_PULLDOWN;
	GPIO_InitStruct.Speed = GPIO_SPEED_FREQ_HIGH;
	HAL_GPIO_Init (GPIOA, & GPIO_InitStruct);
	HAL_GPIO_WritePin (GPIOA, GPIO_PIN_12,GPIO_PIN_RESET);
	HAL_Delay (1000);

}

void Reverse_Bytes_Order_16(uint16_t* word){
	volatile uint16_t temp;
	temp = *word;  			// berem snachenie po ukasately
	temp = ((temp<<8)&0xFF00)| ((temp>>8)&0xFF); // delaem vsiakie nepotrebnocty
	*word = temp;									// sapisivaem obratno chto poluchilos
}

void HAL_ADC_ConvCpltCallback(ADC_HandleTypeDef* hadc)
{
    if(hadc->Instance == ADC3)
    {
    }
}

void HAL_I2C_MasterTxCpltCallback(I2C_HandleTypeDef *hi2c)
{
	if(hi2c == &hi2c1){
		ina226_body_read_queue(&ina_226.INA_226[ina_226.ch_read_queue]);
	}
	if(hi2c == &hi2c2){
		ina226_body_read_queue(&power_module_ina.INA_226[power_module_ina.ch_read_queue]);
	}

}

void HAL_I2C_MasterRxCpltCallback(I2C_HandleTypeDef *hi2c)
{
	if(hi2c == &hi2c1){
		ina226_body_read_queue(&ina_226.INA_226[ina_226.ch_read_queue]);
	}
	if(hi2c == &hi2c2){
		ina226_body_read_queue(&power_module_ina.INA_226[power_module_ina.ch_read_queue]);
	}
}

void HAL_UART_TxCpltCallback(UART_HandleTypeDef *huart)
{
	if(huart == &huart1){
		//mb_uart_transmit.transmit_flag = 1;
		mb_data_union.mb_data_named.mb_uart1_transmit_struct.transmit_flag = 0x01;
		mb_data_union.mb_data_named.mb_uart1_transmit_struct.start = 0x0;
		mb_uart1_transmit.transmit_flag = 0x01;
		HAL_UART_AbortTransmit_IT(&huart1);
		if(mb_uart1_setting.settings_named.Duplex){
						mb_gpio_outputs.gpio_out_named.gpio2 = 0;
						my_gpio_set(&mb_gpio_outputs);
					}

	}
	else if(huart == &huart2){
		//mb_uart_transmit.transmit_flag = 1;
		mb_data_union.mb_data_named.mb_uart2_transmit_struct.transmit_flag = 0x01;
		mb_data_union.mb_data_named.mb_uart2_transmit_struct.start = 0x0;
		mb_uart2_transmit.transmit_flag = 0x01;
		HAL_UART_AbortTransmit_IT(&huart2);

		if(mb_uart2_setting.settings_named.Duplex){
						mb_gpio_outputs.gpio_out_named.gpio1 = 0;
						my_gpio_set(&mb_gpio_outputs);
					}
	}
	//huart->Instance->CR1 |= 0x04; //поднимаем RE recieve enable
}

void HAL_UART_RxCpltCallback(UART_HandleTypeDef *huart)
{
	if(huart == &huart1){
			mb_data_union.mb_data_named.mb_uart1_receive_struct.write_ptr++;
			if(mb_data_union.mb_data_named.mb_uart1_receive_struct.write_ptr == (UART_RECIVE_DATA_BUFF)){
				mb_data_union.mb_data_named.mb_uart1_receive_struct.write_ptr = 0;
			}
			HAL_UART_Receive_IT(&huart1, &mb_data_union.mb_data_named.mb_uart1_receive_struct.data[mb_data_union.mb_data_named.mb_uart1_receive_struct.write_ptr],1);

	}
	else if(huart == &huart2){
			mb_data_union.mb_data_named.mb_uart2_receive_struct.write_ptr++;
			if(mb_data_union.mb_data_named.mb_uart2_receive_struct.write_ptr == (UART_RECIVE_DATA_BUFF)){
				mb_data_union.mb_data_named.mb_uart2_receive_struct.write_ptr = 0;
			}
			HAL_UART_Receive_IT(&huart2, &mb_data_union.mb_data_named.mb_uart2_receive_struct.data[mb_data_union.mb_data_named.mb_uart2_receive_struct.write_ptr],1);

	}
}

void HAL_TIM_PeriodElapsedCallback(TIM_HandleTypeDef *htim)
{
	if (htim == &htim7) {
    timer_slot_5ms_counter += 1;
    if (timer_slot_5ms_counter >= 2){ //создание искусственного события c периодом 10 мс
      timer_slot_5ms_counter = 0;
    }
    led_processor(&mcu_state_led, 5);
    led_processor(&con_state_led, 5);
		time_slot_flag_5ms = 5;
	}

	if (htim == &htim12) {
		TIM_MPP_interrupt(&mb_MPP_Module_ch1);
		TIM_MPP_interrupt(&mb_MPP_Module_ch2);
	}
	/*
	if(htim == &htim1){
		if(mb_data_union.mb_data_named.mb_MKO_Struct.MKO_Cntrl.TimeOutFlag == 1){
			mb_data_union.mb_data_named.mb_MKO_Struct.scaler |= 0x04;
			HAL_TIM_Base_Stop_IT(&htim1);
		}
	}
	*/
	if(htim == &htim2){
		if(mb_data_union.mb_data_named.mb_MKO_Struct.MKO_Cntrl.TimeOutFlag == 1){
			mb_data_union.mb_data_named.mb_MKO_Struct.scaler |= 0x04;
			HAL_TIM_Base_Stop_IT(&htim1);
		}
		else{
			if(mb_gpio_alternative_outputs.it_scaler == 0){
				mb_gpio_alternative_outputs.it_scaler = 1;
			}
			else if(mb_gpio_alternative_outputs.it_scaler == 1){
				my_gpio_set(&mb_gpio_outputs);
				mb_gpio_alternative_outputs.end_flag = 0x0001;
				mb_gpio_alternative_outputs.start = 0x0000;
				HAL_TIM_Base_Stop_IT(&htim2);
			}
		}

	}
	if(htim == &htim9){ // voltage tuning

		if((mb_power_module.voltage_aligned + mb_power_module.delta_1)< (mb_adc.data[0] - VOLTAGE_DEVIATION)){
			mb_power_module.pwm_1++;
		}
		else if((mb_power_module.voltage_aligned + mb_power_module.delta_1) > (mb_adc.data[0] + VOLTAGE_DEVIATION)) {
			mb_power_module.pwm_1--;
		}
		if((mb_power_module.voltage_aligned + mb_power_module.delta_2)< (mb_adc.data[1] - VOLTAGE_DEVIATION)){
			mb_power_module.pwm_2++;
		}
		else if((mb_power_module.voltage_aligned + mb_power_module.delta_2) > (mb_adc.data[1] + VOLTAGE_DEVIATION)) {
			mb_power_module.pwm_2--;
		}

		if(mb_power_module.pwm_1 >8000) mb_power_module.pwm_1 = 8000;
		else if(mb_power_module.pwm_1 <1000) mb_power_module.pwm_1 = 1000;
		if(mb_power_module.pwm_2 >8000) mb_power_module.pwm_2 = 8000;
		else if(mb_power_module.pwm_2 <1000) mb_power_module.pwm_2 = 1000;
		__HAL_TIM_SET_COMPARE(&htim3, TIM_CHANNEL_1, mb_power_module.pwm_1); //
		__HAL_TIM_SET_COMPARE(&htim3, TIM_CHANNEL_2, mb_power_module.pwm_2); //

	}

}

void HAL_SPI_TxCpltCallback(SPI_HandleTypeDef *hspi)
{

    if(hspi2.TxXferCount==0)
    {
      	HAL_SPI_Abort_IT(&hspi2);
	 	mb_data_union.mb_data_named.mb_spi_transmit.transaction_end = 1;
		mb_data_union.mb_data_named.mb_spi_transmit.start = 0;
		my_spi_chip_deselect(&mb_spi_transmit.chip_mask, &mb_spi_cs_settings, &mb_gpio_outputs);
    }
	else{
		if(hspi1.TxXferCount==0 && hspi1.TxXferCount==0){
			SPI_RW_routine(&mb_data_union.mb_data_named.mb_SPI_Device1 ,&mb_data_union.mb_data_named.mb_SPI_Device);
		}
	}

}

void HAL_SPI_TxRxCpltCallback(SPI_HandleTypeDef *hspi)
{
    if(hspi2.TxXferCount==0 && hspi2.TxXferCount==0)
    {

		if(mb_stm_command_struct.stm_module_flag){
			HAL_SPI_Abort_IT(&hspi2);
			AD7490_body_read_queue(&mb_data_union.mb_data_named.mb_AD7490);
		}
		else if(mb_data_union.mb_data_named.mb_SPI_Device1.SPI_Tranzaction_flag)
		{
			SPI_RW_routine(&mb_data_union.mb_data_named.mb_SPI_Device1 ,&mb_data_union.mb_data_named.mb_SPI_Device);
		}

		else{
			// часть относящаяся просто к SPI
			HAL_SPI_Abort_IT(&hspi2);
			mb_data_union.mb_data_named.mb_spi_transmit.transaction_end = 1;
			mb_data_union.mb_data_named.mb_spi_transmit.start = 0;
			mb_data_union.mb_data_named.mb_spi_receive.transaction_end = 1;
			mb_data_union.mb_data_named.mb_spi_receive.start = 0;
			my_spi_chip_deselect(&mb_spi_transmit.chip_mask, &mb_spi_cs_settings, &mb_gpio_outputs);
		}
    }
	else{
		if(hspi1.TxXferCount==0 && hspi1.TxXferCount==0){
			SPI_RW_routine(&mb_data_union.mb_data_named.mb_SPI_Device1 ,&mb_data_union.mb_data_named.mb_SPI_Device);
		}
	}
}
void HAL_SPI_RxCpltCallback(SPI_HandleTypeDef *hspi)
{

    if(hspi2.RxXferCount==0)
    {
      		HAL_SPI_Abort_IT(&hspi2);
			mb_data_union.mb_data_named.mb_spi_receive.transaction_end = 1;
			mb_data_union.mb_data_named.mb_spi_receive.start = 0;
    }
	else{
		if(hspi1.TxXferCount==0 && hspi1.TxXferCount==0){
			SPI_RW_routine(&mb_data_union.mb_data_named.mb_SPI_Device1 ,&mb_data_union.mb_data_named.mb_SPI_Device);
		}
	}

}

/* USER CODE BEGIN 0 */

/* USER CODE END 4 */

void Error_Handler(void)
{
}

/************************ (C) COPYRIGHT STMicroelectronics *****END OF FILE****/
